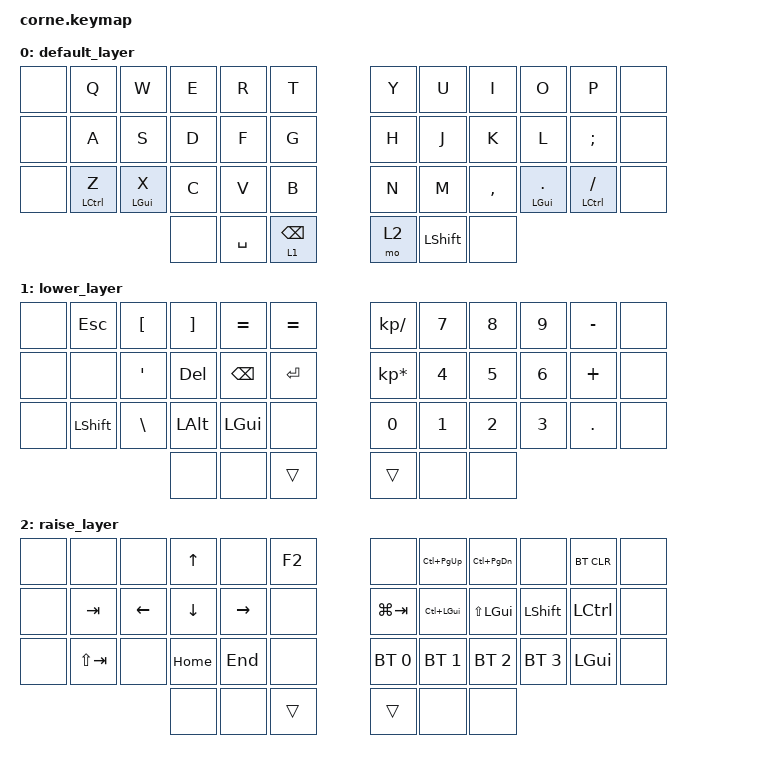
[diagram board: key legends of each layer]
/*
 * Baelin
 */

#include <behaviors.dtsi>
#include <dt-bindings/zmk/keys.h>
#include <dt-bindings/zmk/bt.h>

/ {
        keymap {
                compatible = "zmk,keymap";

                default_layer {
                        bindings = <
                           &none &kp Q &kp W &kp E &kp R &kp T                          &kp Y &kp U &kp I &kp O &kp P &none
                           &none &kp A &kp S &kp D &kp F &kp G                          &kp H &kp J &kp K &kp L &kp SEMI &none
                           &none &mt LCTRL Z &mt LGUI X &kp C &kp V &kp B               &kp N &kp M &kp COMMA &mt LGUI DOT &mt LCTRL FSLH &none
                           &none &kp SPACE &lt 1 BKSP                                   &mo 2 &kp LSHFT &none
                        >;
                };
                
                lower_layer {
                        bindings = <
                           &none &kp ESC &kp LBKT &kp RBKT &kp EQUAL &kp EQUAL              &kp KP_DIVIDE &kp N7 &kp N8 &kp N9 &kp MINUS &none
                           &none &none &kp SQT &kp DEL &kp BSPC &kp RETURN                  &kp KP_MULTIPLY &kp N4 &kp N5 &kp N6 &kp PLUS &none
                           &none &kp LSHFT &kp BSLH &kp LALT &kp LGUI &none                 &kp N0 &kp N1 &kp N2 &kp N3 &kp DOT &none
                           &none &none &trans                                               &trans &none &none
                        >;
                };

                raise_layer {
                        bindings = <
                           &none &none &none &kp UP &none &kp F2                           &none &kp LC(PG_UP) &kp LC(PG_DN) &none &bt BT_CLR &none
                           &none &kp TAB &kp LEFT &kp DOWN &kp RIGHT &none                 &kp LG(TAB) &kp LC(LGUI) &kp LS(LGUI) &kp LSHFT &kp LCTRL &none
                           &none &kp LS(TAB) &none &kp HOME &kp END &none                  &bt BT_SEL 0 &bt BT_SEL 1 &bt BT_SEL 2 &bt BT_SEL 3 &kp LGUI &none
                           &none &none &trans                                              &trans &none &none
                        >;
                };
        };
};
